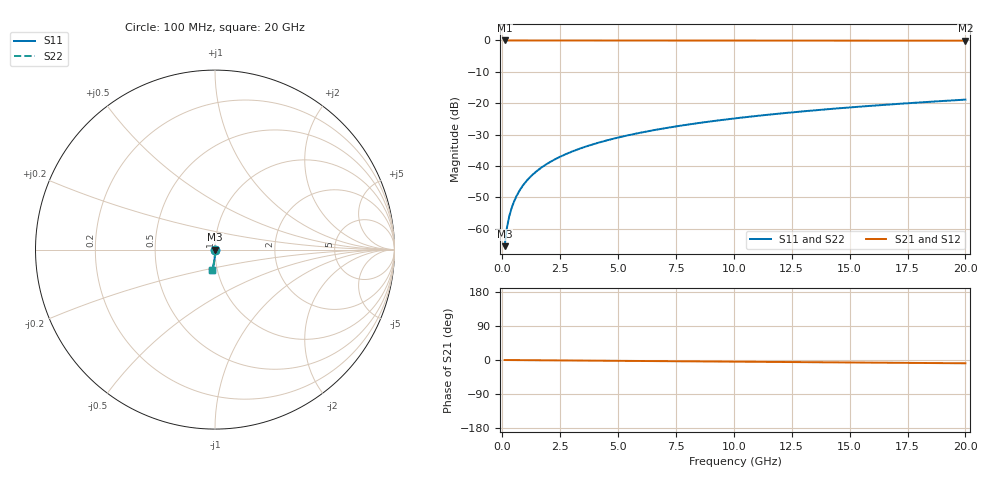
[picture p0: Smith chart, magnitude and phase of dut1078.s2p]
! Touchstone file exported from HFSS 2026.1.0
!  File:  C:/ffzhzh/LocalFiles/Ansys_Project_Files/temp_train_TSV_1078_1783190036_51560.aedt
!  Generated:  02:35:17 AM Jul  5, 2026
!  Design:  TSV
!  Project:  temp_train_TSV_1078_1783190036_51560
! Variables:
!  h_bsmrdl = 2um
!  h_ox = 20um
!  h_rdl = 5um
!  h_sub = 60.24um
!  h_tmrdl = 5um
!  h_tsv = 60.24um
!  h_via = 3um
!  l_bsmrdl = 300um
!  l_sub = 420.6um
!  l_tmrdl = 200um
!  m_sub = 200um
!  pitch = 22.97um
!  r_tsv = 10.3um
!  s_tmrdl = 10um
!  w_bsmrdl = 18um
!  w_sub = 500um
!  w_tmrdl = 12um
!  x_tsv_center1 = 206um
!  x_tsv_center2 = 524um
!  x_tsv_center3 = 736um
!  x_tsv_center4 = 1054um
!  x_tsv_center5 = 1266um
!  x_tsv_center6 = 1584um
# GHz S MA R 50.000000
! Terminal data exported
! Port[1] = TSV1_1_T1
! Port[2] = TSV1_1_T2
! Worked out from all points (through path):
!   200 points, 100 MHz to 20 GHz, reference 50 ohm
!   highest |S21| = 0.00 dB at 100 MHz (marker M1); lowest = -0.1 dB at 20 GHz (marker M2)
!   group delay of S21, straight-line fit = 1.2 ps
!   lowest |S11| = -65.6 dB at 100 MHz (marker M3), VSWR 1.00, Z = 50 - j0.0514 ohm
!   |S11| at or under -10 dB: start of sweep to end of sweep
!   |S22| runs from -65.6 to -18.9 dB; largest |S21 - S12| = 3.1e-15
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0.1  0.0005276 -77.1  0.9999 -0.0  0.9999 -0.0  0.0005276 -77.1
! Gamma 0 0 0 0
! Port Impedance 50 0 50 0
0.2  0.001045 -82.4  0.9999 -0.1  0.9999 -0.1  0.001045 -82.4
0.3  0.001576 -83.9  0.9998 -0.1  0.9998 -0.1  0.001576 -83.9
0.4  0.00212 -84.6  0.9998 -0.2  0.9998 -0.2  0.00212 -84.6
0.5  0.002673 -85.1  0.9998 -0.2  0.9998 -0.2  0.002673 -85.1
0.7  0.003798 -85.8  0.9997 -0.3  0.9997 -0.3  0.003798 -85.8
0.8  0.004366 -86.2  0.9997 -0.4  0.9997 -0.4  0.004366 -86.2
1  0.005505 -86.7  0.9996 -0.4  0.9996 -0.4  0.005505 -86.7
1.2  0.006645 -87.2  0.9996 -0.5  0.9996 -0.5  0.006645 -87.2
1.4  0.007786 -87.6  0.9996 -0.6  0.9996 -0.6  0.007786 -87.6
1.7  0.009496 -88.1  0.9995 -0.8  0.9995 -0.8  0.009496 -88.1
2  0.01121 -88.5  0.9995 -0.9  0.9995 -0.9  0.01121 -88.5
2.7  0.0152 -89.2  0.9993 -1.2  0.9993 -1.2  0.0152 -89.2
3.5  0.01976 -89.8  0.9992 -1.5  0.9992 -1.5  0.01976 -89.8
4.2  0.02377 -90.2  0.999 -1.8  0.999 -1.8  0.02377 -90.2
5  0.02835 -90.7  0.9988 -2.2  0.9988 -2.2  0.02835 -90.7
6.8  0.03869 -91.6  0.9984 -3.0  0.9984 -3.0  0.03869 -91.6
8.3  0.04731 -92.4  0.9979 -3.6  0.9979 -3.6  0.04731 -92.4
10.1  0.05764 -93.3  0.9972 -4.4  0.9972 -4.4  0.05764 -93.3
13.4  0.07655 -94.9  0.9958 -5.8  0.9958 -5.8  0.07655 -94.9
16.7  0.09536 -96.4  0.994 -7.2  0.994 -7.2  0.09536 -96.4
20  0.1141 -97.9  0.9918 -8.7  0.9918 -8.7  0.1141 -97.9
